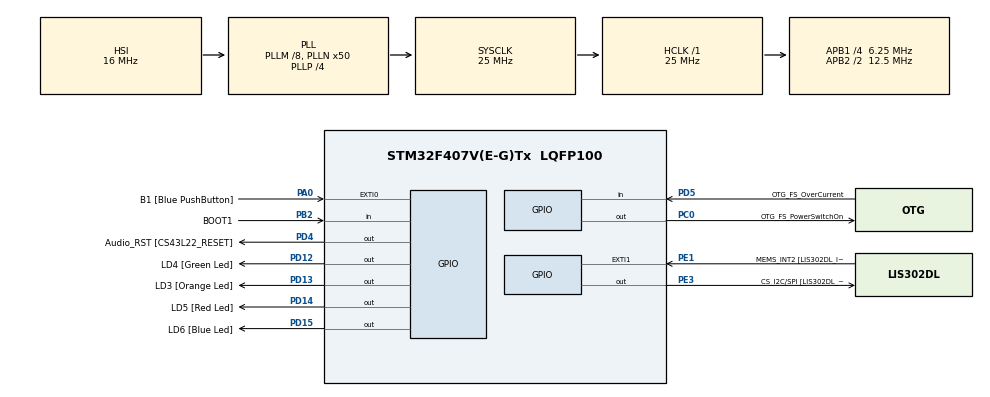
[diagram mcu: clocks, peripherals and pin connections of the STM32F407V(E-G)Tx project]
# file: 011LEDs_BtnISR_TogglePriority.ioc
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Mcu.Family=STM32F4
Mcu.Name=STM32F407V(E-G)Tx
Mcu.Package=LQFP100
NVIC.EXTI0_IRQn=true\:6\:0\:true\:false\:true\:true\:true
NVIC.PriorityGroup=NVIC_PRIORITYGROUP_4
NVIC.TIM6_DAC_IRQn=true\:0\:0\:false\:false\:true\:false\:true
NVIC.TimeBase=TIM6_DAC_IRQn
NVIC.TimeBaseIP=TIM6
PA0-WKUP.GPIO_Label=B1 [Blue PushButton]
PA0-WKUP.GPIO_ModeDefaultEXTI=GPIO_MODE_IT_FALLING
PA0-WKUP.Signal=GPXTI0
PA10.GPIO_Label=OTG_FS_ID
PA10.GPIO_Mode=GPIO_MODE_AF_PP
PA10.GPIO_PuPd=GPIO_NOPULL
PA10.GPIO_Speed=GPIO_SPEED_FREQ_LOW
PA10.Signal=USB_OTG_FS_ID
PA11.GPIO_Label=OTG_FS_DM
PA11.GPIO_Mode=GPIO_MODE_AF_PP
PA11.GPIO_PuPd=GPIO_NOPULL
PA11.GPIO_Speed=GPIO_SPEED_FREQ_LOW
PA11.Signal=USB_OTG_FS_DM
PA12.GPIO_Label=OTG_FS_DP
PA12.GPIO_Mode=GPIO_MODE_AF_PP
PA12.GPIO_PuPd=GPIO_NOPULL
PA12.GPIO_Speed=GPIO_SPEED_FREQ_LOW
PA12.Signal=USB_OTG_FS_DP
PA13.GPIO_Label=SWDIO
PA13.Signal=SYS_JTMS-SWDIO
PA14.GPIO_Label=SWCLK
PA14.Signal=SYS_JTCK-SWCLK
PA4.GPIO_Label=I2S3_WS [CS43L22_LRCK]
PA4.GPIO_Mode=GPIO_MODE_AF_PP
PA4.GPIO_PuPd=GPIO_NOPULL
PA4.GPIO_Speed=GPIO_SPEED_FREQ_LOW
PA4.Signal=I2S3_WS
PA5.GPIO_Label=SPI1_SCK [LIS302DL_SCL/SPC]
PA5.GPIO_Mode=GPIO_MODE_AF_PP
PA5.GPIO_PuPd=GPIO_NOPULL
PA5.GPIO_Speed=GPIO_SPEED_FREQ_LOW
PA5.Signal=SPI1_SCK
PA6.GPIO_Label=SPI1_MISO [LIS302DL_SDO]
PA6.GPIO_Mode=GPIO_MODE_AF_PP
PA6.GPIO_PuPd=GPIO_NOPULL
PA6.GPIO_Speed=GPIO_SPEED_FREQ_LOW
PA6.Signal=SPI1_MISO
PA7.GPIO_Label=SPI1_MOSI [LIS302DL_SDA/SDI/SDO]
PA7.GPIO_Mode=GPIO_MODE_AF_PP
PA7.GPIO_PuPd=GPIO_NOPULL
PA7.GPIO_Speed=GPIO_SPEED_FREQ_LOW
PA7.Signal=SPI1_MOSI
PA9.GPIO_Label=VBUS_FS
PA9.GPIO_Mode=GPIO_MODE_INPUT
PA9.GPIO_PuPd=GPIO_NOPULL
PA9.Signal=USB_OTG_FS_VBUS
PB10.GPIO_Label=CLK_IN [MP45DT02_CLK]
PB10.GPIO_Mode=GPIO_MODE_AF_PP
PB10.GPIO_PuPd=GPIO_NOPULL
PB10.GPIO_Speed=GPIO_SPEED_FREQ_LOW
PB10.Signal=I2S2_CK
PB2.GPIO_Label=BOOT1
PB2.GPIO_Mode=GPIO_MODE_INPUT
PB2.GPIO_PuPd=GPIO_NOPULL
PB2.Signal=GPIO_Input
PB3.GPIO_Label=SWO
PB3.Signal=SYS_JTDO-SWO
PB6.GPIO_Label=Audio_SCL [CS43L22_SCL]
PB6.GPIO_Mode=GPIO_MODE_AF_OD
PB6.GPIO_PuPd=GPIO_NOPULL
PB6.GPIO_Speed=GPIO_SPEED_FREQ_LOW
PB6.Signal=I2C1_SCL
PB9.GPIO_Label=Audio_SDA [CS43L22_SDA]
PB9.GPIO_Mode=GPIO_MODE_AF_OD
PB9.GPIO_PuPd=GPIO_NOPULL
PB9.GPIO_Speed=GPIO_SPEED_FREQ_LOW
PB9.Signal=I2C1_SDA
PC0.GPIO_Label=OTG_FS_PowerSwitchOn
PC0.GPIO_PuPd=GPIO_NOPULL
PC0.GPIO_Speed=GPIO_SPEED_FREQ_LOW
PC0.PinState=GPIO_PIN_SET
PC0.Signal=GPIO_Output
PC10.GPIO_Label=I2S3_SCK [CS43L22_SCLK]
PC10.GPIO_Mode=GPIO_MODE_AF_PP
PC10.GPIO_PuPd=GPIO_NOPULL
PC10.GPIO_Speed=GPIO_SPEED_FREQ_LOW
PC10.Signal=I2S3_CK
PC12.GPIO_Label=I2S3_SD [CS43L22_SDIN]
PC12.GPIO_Mode=GPIO_MODE_AF_PP
PC12.GPIO_PuPd=GPIO_NOPULL
PC12.GPIO_Speed=GPIO_SPEED_FREQ_LOW
PC12.Signal=I2S3_SD
PC14-OSC32_IN.GPIO_Label=PC14-OSC32_IN
PC14-OSC32_IN.Signal=RCC_OSC32_IN
PC15-OSC32_OUT.GPIO_Label=PC15-OSC32_OUT
PC15-OSC32_OUT.Signal=RCC_OSC32_OUT
PC3.GPIO_Label=PDM_OUT [MP45DT02_DOUT]
PC3.GPIO_Mode=GPIO_MODE_AF_PP
PC3.GPIO_PuPd=GPIO_NOPULL
PC3.GPIO_Speed=GPIO_SPEED_FREQ_LOW
PC3.Signal=I2S2_SD
PC7.GPIO_Label=I2S3_MCK [CS43L22_MCLK]
PC7.GPIO_Mode=GPIO_MODE_AF_PP
PC7.GPIO_PuPd=GPIO_NOPULL
PC7.GPIO_Speed=GPIO_SPEED_FREQ_LOW
PC7.Signal=I2S3_MCK
PD12.GPIO_Label=LD4 [Green Led]
PD12.GPIO_PuPd=GPIO_NOPULL
PD12.GPIO_Speed=GPIO_SPEED_FREQ_LOW
PD12.Signal=GPIO_Output
PD13.GPIO_Label=LD3 [Orange Led]
PD13.GPIO_PuPd=GPIO_NOPULL
PD13.GPIO_Speed=GPIO_SPEED_FREQ_LOW
PD13.Signal=GPIO_Output
PD14.GPIO_Label=LD5 [Red Led]
PD14.GPIO_PuPd=GPIO_NOPULL
PD14.GPIO_Speed=GPIO_SPEED_FREQ_LOW
PD14.Signal=GPIO_Output
PD15.GPIO_Label=LD6 [Blue Led]
PD15.GPIO_PuPd=GPIO_NOPULL
PD15.GPIO_Speed=GPIO_SPEED_FREQ_LOW
PD15.Signal=GPIO_Output
PD4.GPIO_Label=Audio_RST [CS43L22_RESET]
PD4.GPIO_PuPd=GPIO_NOPULL
PD4.GPIO_Speed=GPIO_SPEED_FREQ_LOW
PD4.Signal=GPIO_Output
PD5.GPIO_Label=OTG_FS_OverCurrent
PD5.GPIO_Mode=GPIO_MODE_INPUT
PD5.GPIO_PuPd=GPIO_NOPULL
PD5.Signal=GPIO_Input
PE1.GPIO_Label=MEMS_INT2 [LIS302DL_INT2]
PE1.GPIO_ModeDefaultEXTI=GPIO_MODE_EVT_RISING
PE1.GPIO_PuPd=GPIO_NOPULL
PE1.Signal=GPXTI1
PE3.GPIO_Label=CS_I2C/SPI [LIS302DL_CS_I2C/SPI]
PE3.GPIO_PuPd=GPIO_NOPULL
PE3.GPIO_Speed=GPIO_SPEED_FREQ_LOW
PE3.Signal=GPIO_Output
PH0-OSC_IN.GPIO_Label=PH0-OSC_IN
PH0-OSC_IN.Signal=RCC_OSC_IN
PH1-OSC_OUT.GPIO_Label=PH1-OSC_OUT
PH1-OSC_OUT.Signal=RCC_OSC_OUT
ProjectManager.HeapSize=0x200
ProjectManager.StackSize=0x400
ProjectManager.TargetToolchain=STM32CubeIDE
RCC.48MHZClocksFreq_Value=14285714.285714285
RCC.AHBFreq_Value=25000000
RCC.APB1CLKDivider=RCC_HCLK_DIV4
RCC.APB1Freq_Value=6250000
RCC.APB1TimFreq_Value=12500000
RCC.APB2CLKDivider=RCC_HCLK_DIV2
RCC.APB2Freq_Value=12500000
RCC.APB2TimFreq_Value=25000000
RCC.CortexFreq_Value=25000000
RCC.HCLKFreq_Value=25000000
RCC.HSE_VALUE=8000000
RCC.HSI_VALUE=16000000
RCC.LSE_VALUE=32768
RCC.PLLM=8
RCC.PLLN=50
RCC.PLLP=RCC_PLLP_DIV4
RCC.PLLQ=7
RCC.SYSCLKFreq_VALUE=25000000
RCC.SYSCLKSource=RCC_SYSCLKSOURCE_PLLCLK
RCC.VCOOutputFreq_Value=100000000
VP_SYS_VS_tim6.Mode=TIM6
board=STM32F407G-DISC1

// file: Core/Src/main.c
/* USER CODE BEGIN Header */
/**
  ******************************************************************************
  * @file           : main.c
  * @brief          : Main program body
  ******************************************************************************
  * @attention
  *
  * <h2><center>&copy; Copyright (c) 2021 STMicroelectronics.
  * All rights reserved.</center></h2>
  *
  * This software component is licensed by ST under BSD 3-Clause license,
  * the "License"; You may not use this file except in compliance with the
  * License. You may obtain a copy of the License at:
  *                        opensource.org/licenses/BSD-3-Clause
  *
  ******************************************************************************
  */
/* USER CODE END Header */
#include "main.h"
#include "stdio.h"

/* USER CODE BEGIN Includes */

#include <stdio.h>
#include "FreeRTOS.h"
#include "task.h"

/* USER CODE END Includes */

/* USER CODE BEGIN PV */

#define DWT_CTRL	(*(volatile uint32_t *)0xE0001000)

/* USER CODE END PV */

void SystemClock_Config(void);
static void MX_GPIO_Init(void);
/* USER CODE BEGIN PFP */

static void led_green_handler(void * parameters);
//static void led_orange_handler(void * parameters);
static void led_red_handler(void * parameters);
//static void button_handler(void * parameters);

TaskHandle_t ledg_task_handle;
//TaskHandle_t ledo_task_handle;
TaskHandle_t ledr_task_handle;
//TaskHandle_t btn_task_handle;

TaskHandle_t volatile next_task_handle = NULL;

extern void SEGGER_UART_init(uint32_t);

/* USER CODE END PFP */

int main(void)
{
  /* USER CODE BEGIN 1 */

	TaskHandle_t task1_handle;
	TaskHandle_t task2_handle;
	//TaskHandle_t task3_handle;

	BaseType_t status;

  /* USER CODE END 1 */

  /* MCU Configuration--------------------------------------------------------*/

  /* Reset of all peripherals, Initializes the Flash interface and the Systick. */
  HAL_Init();

  /* Configure the system clock */
  SystemClock_Config();

  /* Initialize all configured peripherals */
  MX_GPIO_Init();
  /* USER CODE BEGIN 2 */

  SEGGER_UART_init(250000);

  //Enable the CYCCNT counter.
  DWT_CTRL |= ( 1 << 0);

  SEGGER_SYSVIEW_Conf();
  SEGGER_SYSVIEW_Start();

  status = xTaskCreate(led_green_handler, "LED_green_task", 200, NULL, 3, &ledg_task_handle);
  configASSERT(status == pdPASS);
  next_task_handle=ledg_task_handle;

  //status = xTaskCreate(led_orange_handler, "LED_orange_task", 200, NULL, 2, &ledo_task_handle);
  //configASSERT(status == pdPASS);

  status = xTaskCreate(led_red_handler, "LED_red_task", 200, NULL, 1, &ledr_task_handle);
  configASSERT(status == pdPASS);

  //status = xTaskCreate(button_handler, "Button task", 200, NULL, 4, &btn_task_handle);
  //configASSERT(status == pdPASS);

  //start the freeRTOS scheduler
  vTaskStartScheduler();

  /* USER CODE END 2 */

  /* Infinite loop */
  while (1)
  {

  }
}

void SystemClock_Config(void)
{
  RCC_OscInitTypeDef RCC_OscInitStruct = {0};
  RCC_ClkInitTypeDef RCC_ClkInitStruct = {0};

  /** Configure the main internal regulator output voltage
  */
  __HAL_RCC_PWR_CLK_ENABLE();
  __HAL_PWR_VOLTAGESCALING_CONFIG(PWR_REGULATOR_VOLTAGE_SCALE1);
  /** Initializes the RCC Oscillators according to the specified parameters
  * in the RCC_OscInitTypeDef structure.
  */
  RCC_OscInitStruct.OscillatorType = RCC_OSCILLATORTYPE_HSI;
  RCC_OscInitStruct.HSIState = RCC_HSI_ON;
  RCC_OscInitStruct.HSICalibrationValue = RCC_HSICALIBRATION_DEFAULT;
  RCC_OscInitStruct.PLL.PLLState = RCC_PLL_ON;
  RCC_OscInitStruct.PLL.PLLSource = RCC_PLLSOURCE_HSI;
  RCC_OscInitStruct.PLL.PLLM = 8;
  RCC_OscInitStruct.PLL.PLLN = 50;
  RCC_OscInitStruct.PLL.PLLP = RCC_PLLP_DIV4;
  RCC_OscInitStruct.PLL.PLLQ = 7;
  if (HAL_RCC_OscConfig(&RCC_OscInitStruct) != HAL_OK)
  {
    Error_Handler();
  }
  /** Initializes the CPU, AHB and APB buses clocks
  */
  RCC_ClkInitStruct.ClockType = RCC_CLOCKTYPE_HCLK|RCC_CLOCKTYPE_SYSCLK
                              |RCC_CLOCKTYPE_PCLK1|RCC_CLOCKTYPE_PCLK2;
  RCC_ClkInitStruct.SYSCLKSource = RCC_SYSCLKSOURCE_PLLCLK;
  RCC_ClkInitStruct.AHBCLKDivider = RCC_SYSCLK_DIV1;
  RCC_ClkInitStruct.APB1CLKDivider = RCC_HCLK_DIV4;
  RCC_ClkInitStruct.APB2CLKDivider = RCC_HCLK_DIV2;

  if (HAL_RCC_ClockConfig(&RCC_ClkInitStruct, FLASH_LATENCY_0) != HAL_OK)
  {
    Error_Handler();
  }
}

static void MX_GPIO_Init(void)
{
  GPIO_InitTypeDef GPIO_InitStruct = {0};

  /* GPIO Ports Clock Enable */
  __HAL_RCC_GPIOE_CLK_ENABLE();
  __HAL_RCC_GPIOC_CLK_ENABLE();
  __HAL_RCC_GPIOH_CLK_ENABLE();
  __HAL_RCC_GPIOA_CLK_ENABLE();
  __HAL_RCC_GPIOB_CLK_ENABLE();
  __HAL_RCC_GPIOD_CLK_ENABLE();

  /*Configure GPIO pin Output Level */
  HAL_GPIO_WritePin(CS_I2C_SPI_GPIO_Port, CS_I2C_SPI_Pin, GPIO_PIN_RESET);

  /*Configure GPIO pin Output Level */
  HAL_GPIO_WritePin(OTG_FS_PowerSwitchOn_GPIO_Port, OTG_FS_PowerSwitchOn_Pin, GPIO_PIN_SET);

  /*Configure GPIO pin Output Level */
  HAL_GPIO_WritePin(GPIOD, LD4_Pin|LD3_Pin|LD5_Pin|LD6_Pin
                          |Audio_RST_Pin, GPIO_PIN_RESET);

  /*Configure GPIO pin : CS_I2C_SPI_Pin */
  GPIO_InitStruct.Pin = CS_I2C_SPI_Pin;
  GPIO_InitStruct.Mode = GPIO_MODE_OUTPUT_PP;
  GPIO_InitStruct.Pull = GPIO_NOPULL;
  GPIO_InitStruct.Speed = GPIO_SPEED_FREQ_LOW;
  HAL_GPIO_Init(CS_I2C_SPI_GPIO_Port, &GPIO_InitStruct);

  /*Configure GPIO pin : OTG_FS_PowerSwitchOn_Pin */
  GPIO_InitStruct.Pin = OTG_FS_PowerSwitchOn_Pin;
  GPIO_InitStruct.Mode = GPIO_MODE_OUTPUT_PP;
  GPIO_InitStruct.Pull = GPIO_NOPULL;
  GPIO_InitStruct.Speed = GPIO_SPEED_FREQ_LOW;
  HAL_GPIO_Init(OTG_FS_PowerSwitchOn_GPIO_Port, &GPIO_InitStruct);

  /*Configure GPIO pin : PDM_OUT_Pin */
  GPIO_InitStruct.Pin = PDM_OUT_Pin;
  GPIO_InitStruct.Mode = GPIO_MODE_AF_PP;
  GPIO_InitStruct.Pull = GPIO_NOPULL;
  GPIO_InitStruct.Speed = GPIO_SPEED_FREQ_LOW;
  GPIO_InitStruct.Alternate = GPIO_AF5_SPI2;
  HAL_GPIO_Init(PDM_OUT_GPIO_Port, &GPIO_InitStruct);

  /*Configure GPIO pin : B1_Pin */
  GPIO_InitStruct.Pin = B1_Pin;
  GPIO_InitStruct.Mode = GPIO_MODE_IT_FALLING;
  GPIO_InitStruct.Pull = GPIO_NOPULL;
  HAL_GPIO_Init(B1_GPIO_Port, &GPIO_InitStruct);

  /*Configure GPIO pin : I2S3_WS_Pin */
  GPIO_InitStruct.Pin = I2S3_WS_Pin;
  GPIO_InitStruct.Mode = GPIO_MODE_AF_PP;
  GPIO_InitStruct.Pull = GPIO_NOPULL;
  GPIO_InitStruct.Speed = GPIO_SPEED_FREQ_LOW;
  GPIO_InitStruct.Alternate = GPIO_AF6_SPI3;
  HAL_GPIO_Init(I2S3_WS_GPIO_Port, &GPIO_InitStruct);

  /*Configure GPIO pins : SPI1_SCK_Pin SPI1_MISO_Pin SPI1_MOSI_Pin */
  GPIO_InitStruct.Pin = SPI1_SCK_Pin|SPI1_MISO_Pin|SPI1_MOSI_Pin;
  GPIO_InitStruct.Mode = GPIO_MODE_AF_PP;
  GPIO_InitStruct.Pull = GPIO_NOPULL;
  GPIO_InitStruct.Speed = GPIO_SPEED_FREQ_LOW;
  GPIO_InitStruct.Alternate = GPIO_AF5_SPI1;
  HAL_GPIO_Init(GPIOA, &GPIO_InitStruct);

  /*Configure GPIO pin : BOOT1_Pin */
  GPIO_InitStruct.Pin = BOOT1_Pin;
  GPIO_InitStruct.Mode = GPIO_MODE_INPUT;
  GPIO_InitStruct.Pull = GPIO_NOPULL;
  HAL_GPIO_Init(BOOT1_GPIO_Port, &GPIO_InitStruct);

  /*Configure GPIO pin : CLK_IN_Pin */
  GPIO_InitStruct.Pin = CLK_IN_Pin;
  GPIO_InitStruct.Mode = GPIO_MODE_AF_PP;
  GPIO_InitStruct.Pull = GPIO_NOPULL;
  GPIO_InitStruct.Speed = GPIO_SPEED_FREQ_LOW;
  GPIO_InitStruct.Alternate = GPIO_AF5_SPI2;
  HAL_GPIO_Init(CLK_IN_GPIO_Port, &GPIO_InitStruct);

  /*Configure GPIO pins : LD4_Pin LD3_Pin LD5_Pin LD6_Pin
                           Audio_RST_Pin */
  GPIO_InitStruct.Pin = LD4_Pin|LD3_Pin|LD5_Pin|LD6_Pin
                          |Audio_RST_Pin;
  GPIO_InitStruct.Mode = GPIO_MODE_OUTPUT_PP;
  GPIO_InitStruct.Pull = GPIO_NOPULL;
  GPIO_InitStruct.Speed = GPIO_SPEED_FREQ_LOW;
  HAL_GPIO_Init(GPIOD, &GPIO_InitStruct);

  /*Configure GPIO pins : I2S3_MCK_Pin I2S3_SCK_Pin I2S3_SD_Pin */
  GPIO_InitStruct.Pin = I2S3_MCK_Pin|I2S3_SCK_Pin|I2S3_SD_Pin;
  GPIO_InitStruct.Mode = GPIO_MODE_AF_PP;
  GPIO_InitStruct.Pull = GPIO_NOPULL;
  GPIO_InitStruct.Speed = GPIO_SPEED_FREQ_LOW;
  GPIO_InitStruct.Alternate = GPIO_AF6_SPI3;
  HAL_GPIO_Init(GPIOC, &GPIO_InitStruct);

  /*Configure GPIO pin : VBUS_FS_Pin */
  GPIO_InitStruct.Pin = VBUS_FS_Pin;
  GPIO_InitStruct.Mode = GPIO_MODE_INPUT;
  GPIO_InitStruct.Pull = GPIO_NOPULL;
  HAL_GPIO_Init(VBUS_FS_GPIO_Port, &GPIO_InitStruct);

  /*Configure GPIO pins : OTG_FS_ID_Pin OTG_FS_DM_Pin OTG_FS_DP_Pin */
  GPIO_InitStruct.Pin = OTG_FS_ID_Pin|OTG_FS_DM_Pin|OTG_FS_DP_Pin;
  GPIO_InitStruct.Mode = GPIO_MODE_AF_PP;
  GPIO_InitStruct.Pull = GPIO_NOPULL;
  GPIO_InitStruct.Speed = GPIO_SPEED_FREQ_LOW;
  GPIO_InitStruct.Alternate = GPIO_AF10_OTG_FS;
  HAL_GPIO_Init(GPIOA, &GPIO_InitStruct);

  /*Configure GPIO pin : OTG_FS_OverCurrent_Pin */
  GPIO_InitStruct.Pin = OTG_FS_OverCurrent_Pin;
  GPIO_InitStruct.Mode = GPIO_MODE_INPUT;
  GPIO_InitStruct.Pull = GPIO_NOPULL;
  HAL_GPIO_Init(OTG_FS_OverCurrent_GPIO_Port, &GPIO_InitStruct);

  /*Configure GPIO pins : Audio_SCL_Pin Audio_SDA_Pin */
  GPIO_InitStruct.Pin = Audio_SCL_Pin|Audio_SDA_Pin;
  GPIO_InitStruct.Mode = GPIO_MODE_AF_OD;
  GPIO_InitStruct.Pull = GPIO_NOPULL;
  GPIO_InitStruct.Speed = GPIO_SPEED_FREQ_LOW;
  GPIO_InitStruct.Alternate = GPIO_AF4_I2C1;
  HAL_GPIO_Init(GPIOB, &GPIO_InitStruct);

  /*Configure GPIO pin : MEMS_INT2_Pin */
  GPIO_InitStruct.Pin = MEMS_INT2_Pin;
  GPIO_InitStruct.Mode = GPIO_MODE_EVT_RISING;
  GPIO_InitStruct.Pull = GPIO_NOPULL;
  HAL_GPIO_Init(MEMS_INT2_GPIO_Port, &GPIO_InitStruct);

  /* EXTI interrupt init*/
  HAL_NVIC_SetPriority(EXTI0_IRQn, 6, 0);
  HAL_NVIC_EnableIRQ(EXTI0_IRQn);

}

/* USER CODE BEGIN 4 */

void button_interrupt_handler(){

	BaseType_t pxHigherPriorityTaskWoken;
	pxHigherPriorityTaskWoken = pdFALSE;

	traceISR_ENTER();
	xTaskNotifyFromISR(next_task_handle,0,eNoAction,&pxHigherPriorityTaskWoken);
	portYIELD_FROM_ISR(pxHigherPriorityTaskWoken);
	traceISR_EXIT();
}

static void led_green_handler(void * parameters){

	BaseType_t status;
	while(1){
		SEGGER_SYSVIEW_PrintfTarget("Toggling green LED");
		HAL_GPIO_TogglePin(GPIOD, LED_GREEN_PIN);
		status=xTaskNotifyWait(0,0,NULL,0);
		HAL_Delay(100);
		if(status == pdTRUE){
			portENTER_CRITICAL();
			next_task_handle=ledr_task_handle;
			HAL_GPIO_WritePin(GPIOD, LED_GREEN_PIN, GPIO_PIN_RESET);
			SEGGER_SYSVIEW_PrintfTarget("Block green LED task");
			vTaskPrioritySet(ledg_task_handle,1);
			vTaskPrioritySet(ledr_task_handle,3);
			portEXIT_CRITICAL();
		}
	}
}

static void led_red_handler(void * parameters){

	BaseType_t status;
	while(1){
		SEGGER_SYSVIEW_PrintfTarget("Toggling red LED");
		HAL_GPIO_TogglePin(GPIOD, LED_RED_PIN);
		status=xTaskNotifyWait(0,0,NULL,0);
		HAL_Delay(100);
		if(status == pdTRUE){
			portENTER_CRITICAL();
			next_task_handle=ledg_task_handle;
			HAL_GPIO_WritePin(GPIOD, LED_RED_PIN, GPIO_PIN_RESET);
			SEGGER_SYSVIEW_PrintfTarget("Block red LED task");
			vTaskPrioritySet(ledg_task_handle,3);
			vTaskPrioritySet(ledr_task_handle,1);
			portEXIT_CRITICAL();
		}
	}
}

/*
static void button_handler(void * parameters){

	uint8_t btn_read = 0;
	uint8_t prev_read = 0;

	while(1){
		btn_read = HAL_GPIO_ReadPin(GPIOA, GPIO_PIN_0);

		if(btn_read){
			if(!prev_read)
				xTaskNotify(next_task_handle,0,eNoAction);
		}
		prev_read = btn_read;
		vTaskDelay(pdMS_TO_TICKS(10));
	}
}
*/

/* USER CODE END 4 */

void HAL_TIM_PeriodElapsedCallback(TIM_HandleTypeDef *htim)
{
  if (htim->Instance == TIM6) {
    HAL_IncTick();
  }
}

void Error_Handler(void)
{
  __disable_irq();
  while (1)
  {
  }
}

/************************ (C) COPYRIGHT STMicroelectronics *****END OF FILE****/
